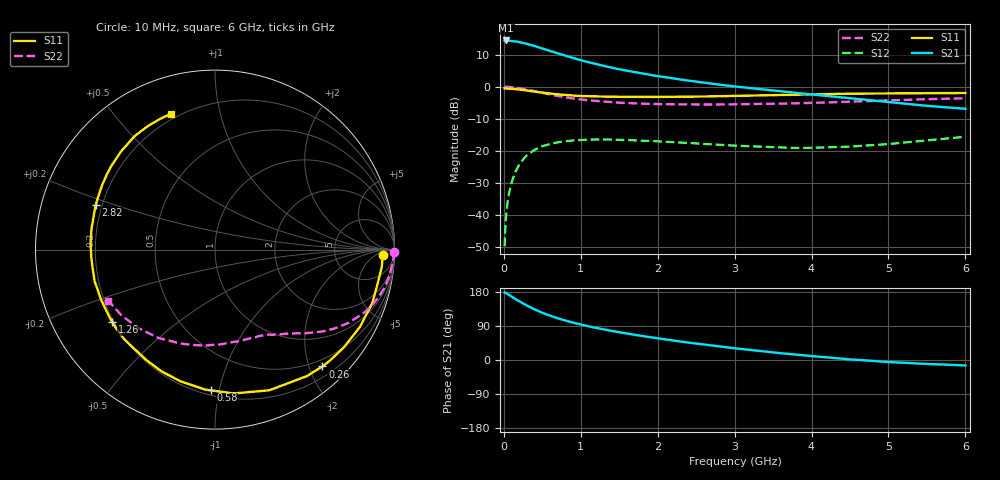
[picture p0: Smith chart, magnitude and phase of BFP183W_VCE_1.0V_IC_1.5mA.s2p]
! Infineon Technologies  Discrete & RF Semiconductors
! BFP183W
! VCE = 1.0 V,  IC =  1.5 mA
! Common Emitter S-Parameters:  Jan 2016
# GHz  S  MA  R  50
!  f  S11  S21  S12  S22
! GHz  MAG  ANG  MAG  ANG  MAG  ANG  MAG  ANG
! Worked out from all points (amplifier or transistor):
!   210 points, 10 MHz to 6 GHz, reference 50 ohm
!   highest |S21| = 14.4 dB at 30 MHz (marker M1)
!   |S21| within 3 dB of that: start of sweep to 564.9 MHz
!   unconditionally stable (mu >= 1): 2.445 GHz to end of sweep
!   at 185 MHz: K = 0.09, MSG = 19.5 dB, |S12| = -25.1 dB
!   at 1.52 GHz: K = 0.62, MSG = 11.0 dB, |S12| = -16.7 dB
!   at 6 GHz: K = 1.18, MAG = 1.8 dB, |S12| = -15.7 dB
!   S11 on the Smith chart (normalised r, x): 10 MHz: 24, -12; 260 MHz: 0.37, -2.23; 580 MHz: 0.23, -0.94; 1.26 GHz: 0.19, -0.31; 2.82 GHz: 0.18, +0.18; 6 GHz: 0.17, +0.71
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0.01  0.9356 -1.9  5.224 178.1  0.0032 87.6  0.9973 -0.8
0.02  0.9343 -3.7  5.257 177.6  0.0064 87.6  0.993 -1.7
0.03  0.9343 -5.8  5.272 176.4  0.0096 87.8  0.9961 -2.5
0.06  0.9261 -11.3  5.231 172.5  0.0191 82.4  0.9903 -5.0
0.11  0.9216 -20.6  5.17 166.1  0.0342 77.4  0.9805 -9.1
0.19  0.9021 -35.4  5.002 156.0  0.0572 68.9  0.9533 -15.3
0.26  0.8842 -47.4  4.805 148.3  0.0751 62.2  0.9219 -20.3
0.3  0.8709 -54.1  4.663 143.5  0.0845 58.5  0.9017 -23.0
0.4  0.84 -68.9  4.321 133.6  0.1027 50.1  0.8489 -28.7
0.5  0.8084 -82.5  3.954 124.5  0.1171 43.2  0.7995 -33.3
0.58  0.7843 -91.7  3.684 118.6  0.1251 38.2  0.7617 -36.5
0.7  0.7586 -104.5  3.327 110.1  0.1351 32.2  0.7145 -40.3
0.8  0.7412 -113.6  3.042 104.0  0.1402 27.5  0.6805 -43.3
1.02  0.712 -130.2  2.546 92.8  0.1468 19.9  0.6266 -48.4
1.26  0.7001 -144.8  2.161 82.3  0.1492 13.5  0.5884 -53.3
1.6  0.6907 -161.1  1.774 69.6  0.1464 7.5  0.5533 -59.4
2.02  0.6907 -177.2  1.45 56.6  0.1393 3.0  0.5331 -67.2
2.82  0.7097 159.4  1.068 35.3  0.123 0.8  0.5259 -83.1
3.1  0.7193 152.5  0.978 28.8  0.1181 1.9  0.5298 -89.3
4.1  0.7594 132.0  0.734 8.6  0.1114 13.0  0.5608 -112.7
5.1  0.784 117.3  0.559 -6.3  0.1299 24.6  0.6147 -136.5
6  0.7955 107.9  0.45 -14.4  0.1646 28.3  0.6586 -154.3
